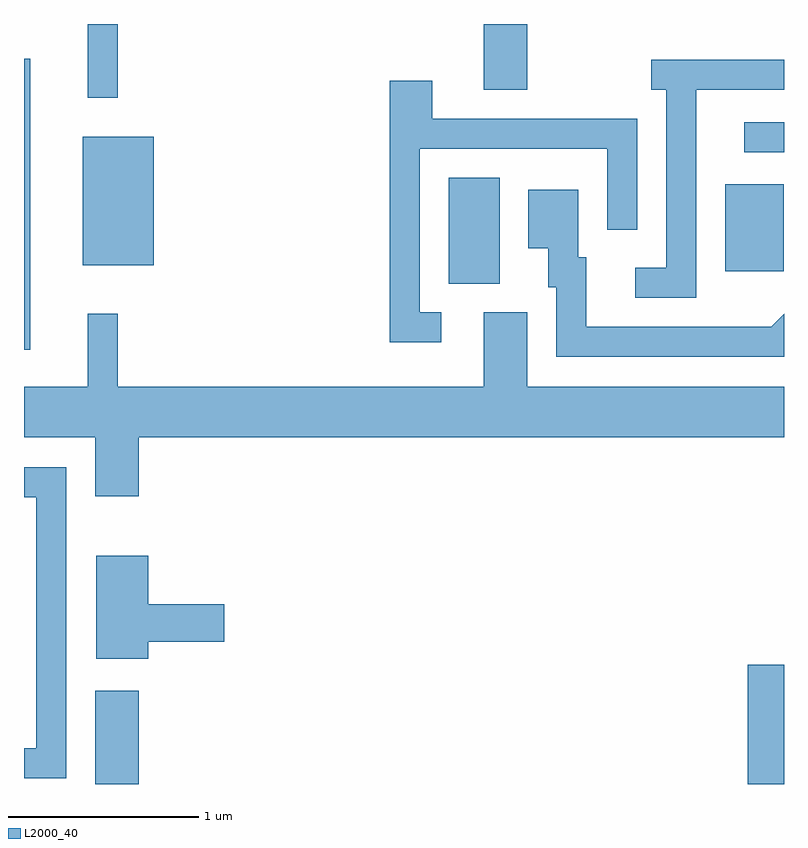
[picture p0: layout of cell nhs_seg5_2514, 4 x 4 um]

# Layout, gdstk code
import gdstk
lib = gdstk.Library(unit=1e-6, precision=1e-09)
def R(c, l, rs):  # rectangles x0, y0, x1, y1
    for r in rs: c.add(gdstk.rectangle(r[:2], r[2:], *l))
def P(c, l, *ps):  # polygons
    for p in ps: c.add(gdstk.Polygon(p, *l))
L2000_40 = (2000, 40)

nhs_seg5_2514 = lib.new_cell('nhs_seg5_2514')
R(nhs_seg5_2514, L2000_40, [(259.986,1466.072,260.214,1466.564), (263.421,1466.072,263.611,1466.699), (259.611,1468.358,259.644,1469.889), (261.846,1468.706,262.114,1469.264), (263.301,1468.771,263.609,1469.229), (259.921,1468.801,260.294,1469.479), (263.403,1469.396,263.611,1469.554), (259.946,1469.683,260.104,1470.072), (262.031,1469.726,262.259,1470.072)])
P(nhs_seg5_2514, L2000_40, [(263.149,1469.726),(263.611,1469.726),(263.611,1469.884),(262.913,1469.884),(262.913,1469.726),(262.991,1469.726),(262.991,1468.789),(262.828,1468.789),(262.828,1468.631),(263.149,1468.631)],
  [(261.808,1468.554),(261.694,1468.554),(261.694,1469.416),(262.681,1469.416),(262.681,1468.988),(262.839,1468.988),(262.839,1469.574),(261.759,1469.574),(261.759,1469.774),(261.536,1469.774),(261.536,1468.396),(261.808,1468.396)],
  [(263.611,1468.546),(263.544,1468.479),(262.569,1468.479),(262.569,1468.844),(262.529,1468.844),(262.529,1469.199),(262.266,1469.199),(262.266,1468.891),(262.371,1468.891),(262.371,1468.686),(262.411,1468.686),(262.411,1468.321),(263.611,1468.321)],
  [(260.214,1467.896),(263.611,1467.896),(263.611,1468.164),(262.259,1468.164),(262.259,1468.554),(262.031,1468.554),(262.031,1468.164),(260.104,1468.164),(260.104,1468.548),(259.946,1468.548),(259.946,1468.164),(259.611,1468.164),(259.611,1467.896),(259.986,1467.896),(259.986,1467.586),(260.214,1467.586)],
  [(259.834,1467.739),(259.611,1467.739),(259.611,1467.581),(259.676,1467.581),(259.676,1466.259),(259.611,1466.259),(259.611,1466.101),(259.834,1466.101)],
  [(260.264,1466.821),(260.664,1466.821),(260.664,1467.019),(260.264,1467.019),(260.264,1467.274),(259.991,1467.274),(259.991,1466.731),(260.264,1466.731)])

lib.write_gds('nhs_seg5_2514.gds')
